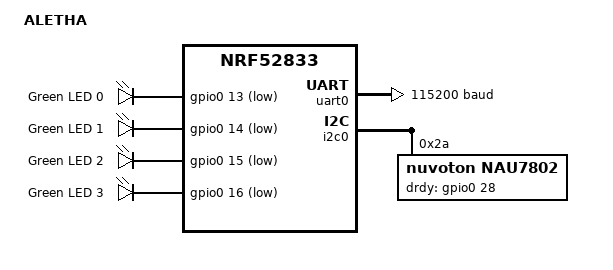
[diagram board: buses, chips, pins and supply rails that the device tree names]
/dts-v1/;
#include <nordic/nrf52833_qiaa.dtsi>
#include "ALETHA_V2-pinctrl.dtsi"

/ {
	model = "ALETHA";
	compatible = "ALETHA,ALETHA-V2";

	chosen {
		zephyr,sram = &sram0;
		zephyr,flash = &flash0;
		zephyr,code-partition = &slot0_partition;
		zephyr,console =  &uart0 ;
		zephyr,shell-uart =  &uart0 ;
		zephyr,uart-mcumgr = &uart0;
	};

	leds {
		compatible = "gpio-leds";
		led0: led_0 {
			gpios = <&gpio0 13 GPIO_ACTIVE_LOW>;
			label = "Green LED 0";
		};
		led1: led_1 {
			gpios = <&gpio0 14 GPIO_ACTIVE_LOW>;
			label = "Green LED 1";
		};
		led2: led_2 {
			gpios = <&gpio0 15 GPIO_ACTIVE_LOW>;
			label = "Green LED 2";
		};
		led3: led_3 {
			gpios = <&gpio0 16 GPIO_ACTIVE_LOW>;
			label = "Green LED 3";
		};
	};
	
	aliases {
		led0 = &led0;
		led1 = &led1;
		led2 = &led2;
		led3 = &led3;
	};		

};

&flash0 {
	partitions {
		compatible = "fixed-partitions";
		#address-cells = <1>;
		#size-cells = <1>;

		boot_partition: partition@0 {
			label = "mcuboot";
			reg = <0x00000000 DT_SIZE_K(48)>;
		};

		slot0_partition: partition@c000 {
			label = "image-0";
			reg = <0x0000c000 DT_SIZE_K(220)>;
		};

		slot1_partition: partition@43000 {
			label = "image-1";
			reg = <0x00043000 DT_SIZE_K(220)>;
		};

		storage_partition: partition@7a000 {
			label = "storage";
			reg = <0x0007a000 DT_SIZE_K(24)>;
		};
	};
};

&gpiote {
	status = "okay";
};

&gpio0 {
	status = "okay";
};

&gpio1 {
	status = "okay";
};

&uart0 {
	compatible = "nordic,nrf-uarte";
	status = "okay";
	current-speed = <115200>;
	pinctrl-0 = <&uart0_default>;
	pinctrl-1 = <&uart0_sleep>;
	pinctrl-names = "default", "sleep";
};

&i2c0 {
	compatible = "nordic,nrf-twi";
	status = "okay";
	pinctrl-0 = <&i2c0_default>;
	pinctrl-1 = <&i2c0_sleep>;
	pinctrl-names = "default", "sleep";
	
	nau7802: nau7802@2a {
        compatible = "nuvoton,nau7802";
        reg = <0x2a>;
        drdy-gpios = <&gpio0 28 GPIO_ACTIVE_HIGH>;
        conversions-per-second = <80>; //SPS (Tốc độ lấy mẫu ADC: 320 mẫu / giây (320 SPS))
        gain = <128>;
    };
};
